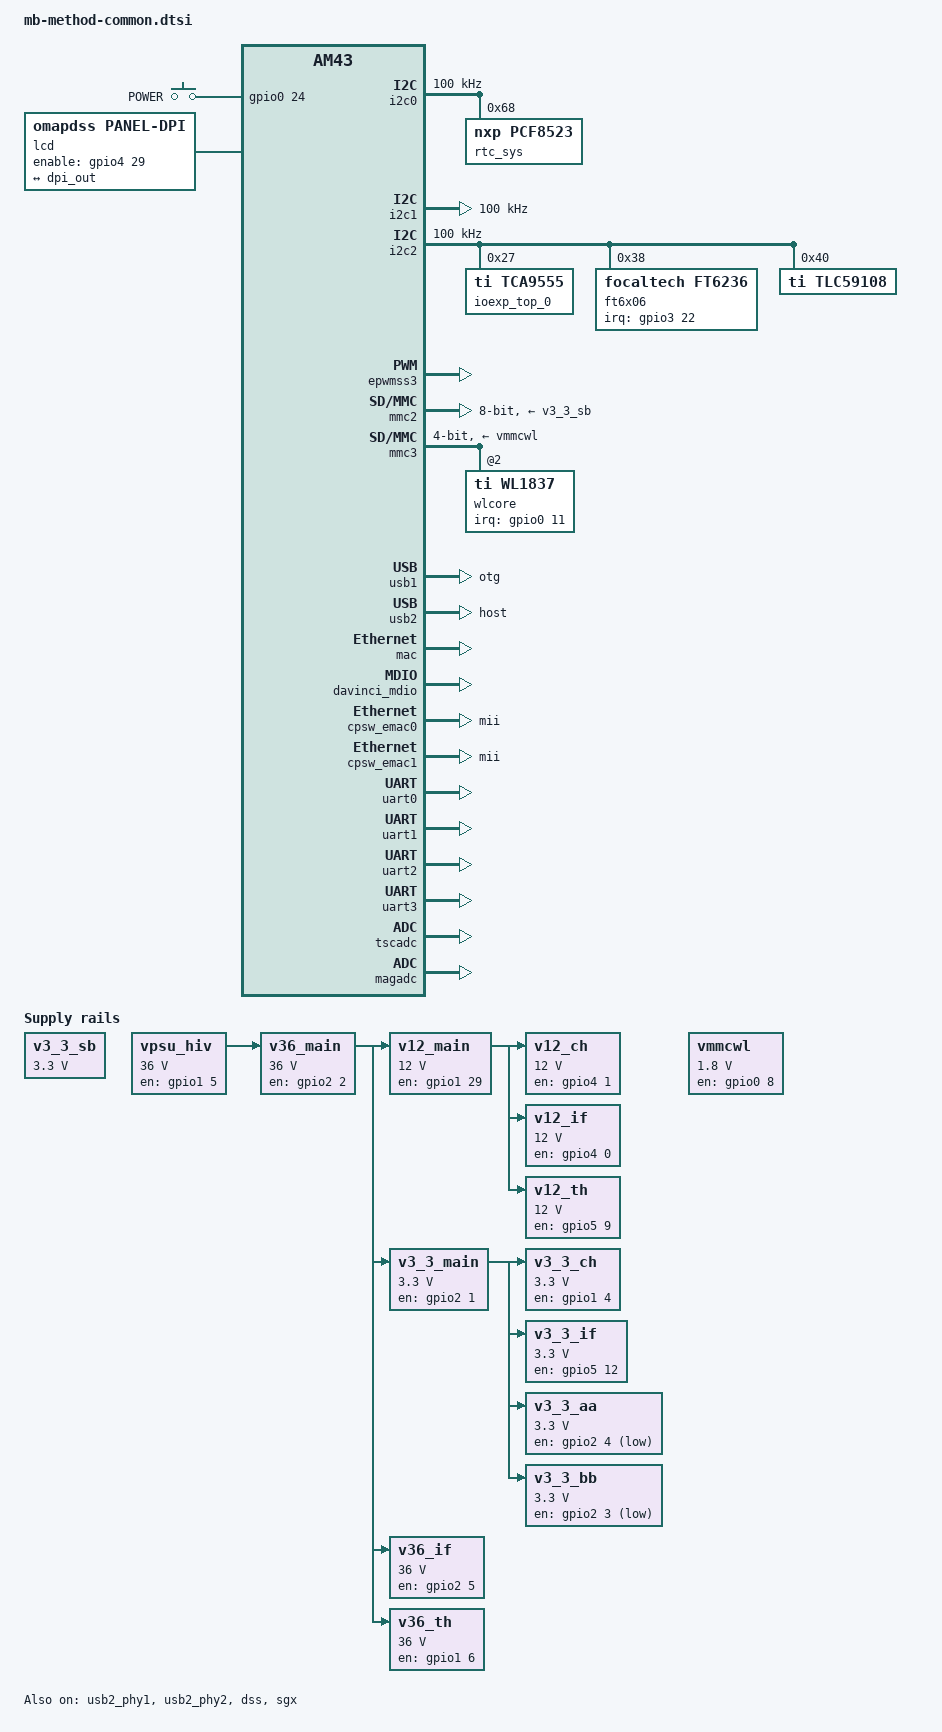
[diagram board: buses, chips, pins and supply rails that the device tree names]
/*
 * Copyright (C) 2013 Texas Instruments Incorporated - http://www.ti.com/
 *
 * This program is free software; you can redistribute it and/or modify
 * it under the terms of the GNU General Public License version 2 as
 * published by the Free Software Foundation.
 */

/* AM437x GP EVM */

#include "am4372.dtsi"
#include <dt-bindings/pinctrl/am43xx.h>
#include <dt-bindings/pwm/pwm.h>
#include <dt-bindings/gpio/gpio.h>

// For Pin Mux Modes, refer to the TI AM437x Processors Datasheet (am4376.pdf)

/ {
	compatible = "ti,am4372", "ti,am43", "ti,cpsw";

	aliases {};

	/* Not clear if we need this... */
	v3_3_sb: fixedregulator-v3_3_sb {
		compatible = "regulator-fixed";
		regulator-name = "v3_3_sb";
		regulator-min-microvolt = <3300000>;
		regulator-max-microvolt = <3300000>;
		enable-active-high;
	};

	/* Hi voltage enable line to the psu */
	vpsu_hiv: fixedregulator-vpsu_hiv {
		compatible = "regulator-fixed";
		regulator-name = "vpsu_hiv";
		regulator-min-microvolt = <36000000>;
		regulator-max-microvolt = <36000000>;
		gpio = <&gpio1 5 GPIO_ACTIVE_HIGH>; /* (A7) gpmc_ad5 PWR-MAIN-ON */
		enable-active-high;
		regulator-always-on;
	};

	/* The main 36V supply */
	v36_main: fixedregulator-v36_main {
		compatible = "regulator-fixed";
		regulator-name = "v36_main";
		regulator-min-microvolt = <36000000>;
		regulator-max-microvolt = <36000000>;
		vin-supply = <&vpsu_hiv>;
		gpio = <&gpio2 2 GPIO_ACTIVE_HIGH>; /* (A9) gpmc_advn_ale 36V-EN */
		enable-active-high;
		regulator-always-on;
	};

	/* The main 12V supply */
	v12_main: fixedregulator-v12_main {
		compatible = "regulator-fixed";
		regulator-name = "v12_main";
		regulator-min-microvolt = <12000000>;
		regulator-max-microvolt = <12000000>;
		vin-supply = <&v36_main>;
		gpio = <&gpio1 29 GPIO_ACTIVE_HIGH>; /* (A8) gpmc_csn0 12V-EN */
		enable-active-high;
		regulator-always-on;
	};

	/* The main 3.3V supply */
	v3_3_main: fixedregulator-v3_3_main {
		compatible = "regulator-fixed";
		regulator-name = "v3_3_main";
		regulator-min-microvolt = <3300000>;
		regulator-max-microvolt = <3300000>;
		vin-supply = <&v36_main>;
		gpio = <&gpio2 1 GPIO_ACTIVE_HIGH>; /* (A12) rmii1_ref_clk BUCK-3V3-EN */
		enable-active-high;
		regulator-always-on;
	};

	/* The chamber heater 3.3V supply */
	v3_3_ch: fixedregulator-v3_3_ch {
		compatible = "regulator-fixed";
		regulator-name = "v3_3_ch";
		regulator-min-microvolt = <3300000>;
		regulator-max-microvolt = <3300000>;
		vin-supply = <&v3_3_main>;
		gpio = <&gpio1 4 GPIO_ACTIVE_HIGH>; /* (B7) gpmc_ad4 3V3-CH-EN */
		enable-active-high;
	};

	v3_3_ch_consumer: mb-v3_3_ch-consumer {
		compatible = "mb,reg-th-consumer";
		regulator-name = "mb-v3_3_ch-regulator";
		regulator-boot-on;
		regulator-supplies = "v3_3_ch";
	};

	/* The chamber heater 12V supply */
	v12_ch: fixedregulator-v12_ch {
		compatible = "regulator-fixed";
		regulator-name = "v12_ch";
		regulator-min-microvolt = <12000000>;
		regulator-max-microvolt = <12000000>;
		vin-supply = <&v12_main>;
		gpio = <&gpio4 1 GPIO_ACTIVE_HIGH>; /* (AD18) cam0_vd 12V-CH-EN */
		enable-active-high;
	};

	v12_ch_consumer: mb-v12_ch-consumer {
		compatible = "mb,reg-th-consumer";
		regulator-name = "mb-v12_ch-regulator";
		regulator-boot-on;
		regulator-supplies = "v12_ch";
	};

	/* The 36V supply to The Rock */
	v36_if: fixedregulator-v36_if {
		compatible = "regulator-fixed";
		regulator-name = "v36_if";
		regulator-min-microvolt = <36000000>;
		regulator-max-microvolt = <36000000>;
		vin-supply = <&v36_main>;
		gpio = <&gpio2 5 GPIO_ACTIVE_HIGH>; /* (C10) gpmc_be0n_cle 36V-IF-EN */
		enable-active-high;
	};

	/* The 12V supply to The Rock */
	v12_if: fixedregulator-v12_if {
		compatible = "regulator-fixed";
		regulator-name = "v12_if";
		regulator-min-microvolt = <12000000>;
		regulator-max-microvolt = <12000000>;
		vin-supply = <&v12_main>;
		gpio = <&gpio4 0 GPIO_ACTIVE_HIGH>; /* (AE17) cam0_hd 12V-IF-EN */
		enable-active-high;
	};

	/* The 3.3V supply to The Rock, also known as the Top Bunk Enable */
	v3_3_if: fixedregulator-v3_3_if {
		compatible = "regulator-fixed";
		regulator-name = "v3_3_if";
		regulator-min-microvolt = <3300000>;
		regulator-max-microvolt = <3300000>;
		vin-supply = <&v3_3_main>;
		gpio = <&gpio5 12 GPIO_ACTIVE_HIGH>; /* (E25) gpio5_12 3V3-IF-EN */
		enable-active-high;
	};

	v3_3_if_consumer: mb-v3_3_if-consumer {
		compatible = "mb,reg-th-consumer";
		regulator-name = "mb-v3_3_if-regulator";
		regulator-boot-on;
		regulator-supplies = "v3_3_if";
	};

	/* The 36V supply to Mick Foley */
	v36_th: fixedregulator-v36_th {
		compatible = "regulator-fixed";
		regulator-name = "v36_th";
		regulator-min-microvolt = <36000000>;
		regulator-max-microvolt = <36000000>;
		vin-supply = <&v36_main>;
		gpio = <&gpio1 6 GPIO_ACTIVE_HIGH>; /* (C8) gpmc_ad6 36V-TH-EN */
		enable-active-high;
	};

	/* The 12V supply to Mick Foley */
	v12_th: fixedregulator-v12_th {
		compatible = "regulator-fixed";
		regulator-name = "v12_th";
		regulator-min-microvolt = <12000000>;
		regulator-max-microvolt = <12000000>;
		vin-supply = <&v12_main>;
		gpio = <&gpio5 9 GPIO_ACTIVE_HIGH>; /* (F24) gpio5_9 12V-TH-EN */
		enable-active-high;
	};

	th_consumer: mb-th-consumer {
		compatible = "mb,reg-th-consumer";
		regulator-name = "mb-th-regulator";
		regulator-boot-on;
		regulator-supplies = "v12_th", "v36_th";
	};

	v12_if_consumer: mb-v12_if-consumer {
		compatible = "mb,reg-th-consumer";
		regulator-name = "mb-v12_if-regulator";
		regulator-boot-on;
		regulator-supplies = "v12_if";
	};

	v36_if_consumer: mb-v36_if-consumer {
		compatible = "mb,reg-th-consumer";
		regulator-name = "mb-v36_if-regulator";
		regulator-boot-on;
		regulator-supplies = "v36_if";
	};

	/* The 3.3V supply to filament bay aa */
	v3_3_aa: fixedregulator-v3_3_aa {
		compatible = "regulator-fixed";
		regulator-name = "v3_3_aa";
		regulator-min-microvolt = <3300000>;
		regulator-max-microvolt = <3300000>;
		vin-supply = <&v3_3_main>;
		gpio = <&gpio2 4 GPIO_ACTIVE_LOW>; /* (D10) gpmc_wen 3V3-AA-ENn */
		enable-active-low;
	};

	v3_3_aa_consumer: mb-v3_3_aa-consumer {
		compatible = "mb,reg-th-consumer";
		regulator-name = "mb-v3_3_aa-regulator";
		regulator-boot-on;
		regulator-supplies = "v3_3_aa";
	};

	/* The 3.3V supply to filament bay bb */
	v3_3_bb: fixedregulator-v3_3_bb {
		compatible = "regulator-fixed";
		regulator-name = "v3_3_bb";
		regulator-min-microvolt = <3300000>;
		regulator-max-microvolt = <3300000>;
		vin-supply = <&v3_3_main>;
		gpio = <&gpio2 3 GPIO_ACTIVE_LOW>; /* (E10) gpmc_oen_ren 3V3-BB-ENn */
		enable-active-low;
	};

	v3_3_bb_consumer: mb-v3_3_bb-consumer {
		compatible = "mb,reg-th-consumer";
		regulator-name = "mb-v3_3_bb-regulator";
		regulator-boot-on;
		regulator-supplies = "v3_3_bb";
	};

	/* Not actually a power supply but convenient to treat as one */
	vmmcwl: fixedregulator-mmcwl {
		compatible = "regulator-fixed";
		regulator-name = "vmmcwl";
		regulator-min-microvolt = <1800000>;
		regulator-max-microvolt = <1800000>;
		startup-delay-us = <70000>;
		/* (D14) mii1_tx_clk.gpio0_8 WIFI-EN_1V8 (gpio3_9 0x7, gpio0_8 0x9) */
		gpio = <&gpio0 8 GPIO_ACTIVE_HIGH>;
		enable-active-high;
	};

	/* Power button */
	gpio_keys {
		compatible = "gpio-keys";
		#address-cells = <1>;
		#size-cells = <0>;

		button@1 {
			debounce_interval = <50>;
			linux,wakeup;
			linux,code = <116>;
			label = "POWER";
			gpios = <&gpio0 24 GPIO_ACTIVE_HIGH>; /* (H20) clkreq BUTTON-PWRn */
		};
	};
};

&am43xx_pinmux {
	pinctrl-names = "default", "sleep";
	pinctrl-0 = <&debugss_pins &power_pins &unused_pins &mobo_usb_hub_reset_pins>;
	pinctrl-1 = <>;

	/* i2c0 pins used for the pcf8523 hardware RTC */
	i2c0_pins: i2c0_pins {
		pinctrl-single,pins = <
			0x188 (PIN_INPUT_PULLUP | SLEWCTRL_FAST | MUX_MODE0)  /* (AB24) i2c0_sda.i2c0_sda */
			0x18C (PIN_INPUT_PULLUP | SLEWCTRL_FAST | MUX_MODE0)  /* (Y22) i2c0_scl.i2c0_scl */
		>;
	};

	i2c1_pins: i2c1_pins {
		pinctrl-single,pins = <
			0x208 (PIN_INPUT_PULLUP | SLEWCTRL_FAST | MUX_MODE3)  /* (AE18) cam0_data0.i2c1_sda */
			0x20C (PIN_INPUT_PULLUP | SLEWCTRL_FAST | MUX_MODE3)  /* (AB18) cam0_data1.i2c1_scl */
		>;
	};

	i2c2_pins: i2c2_pins {
		pinctrl-single,pins = <
			0x1E8 (PIN_INPUT_PULLUP | SLEWCTRL_FAST | MUX_MODE3)  /* (AB20) cam1_data0.i2c2_sda */
			0x1EC (PIN_INPUT_PULLUP | SLEWCTRL_FAST | MUX_MODE3)  /* (AC21) cam1_data1.i2c2_scl */
		>;
	};

	/* eMMC */
	emmc_pins_default: emmc_pins_default {
		pinctrl-single,pins = <
			0x020 (PIN_INPUT_PULLUP | MUX_MODE2)  /* (B10) gpmc_ad8.mmc1_dat0 */
			0x024 (PIN_INPUT_PULLUP | MUX_MODE2)  /* (A10) gpmc_ad9.mmc1_dat1 */
			0x028 (PIN_INPUT_PULLUP | MUX_MODE2)  /* (F11) gpmc_ad10.mmc1_dat2 */
			0x02C (PIN_INPUT_PULLUP | MUX_MODE2)  /* (D11) gpmc_ad11.mmc1_dat3 */
			0x030 (PIN_INPUT_PULLUP | MUX_MODE2)  /* (E11) gpmc_ad12.mmc1_dat4 */
			0x034 (PIN_INPUT_PULLUP | MUX_MODE2)  /* (C11) gpmc_ad13.mmc1_dat5 */
			0x038 (PIN_INPUT_PULLUP | MUX_MODE2)  /* (B11) gpmc_ad14.mmc1_dat6 */
			0x03C (PIN_INPUT_PULLUP | MUX_MODE2)  /* (A11) gpmc_ad15.mmc1_dat7 */
			0x080 (PIN_INPUT_PULLUP | MUX_MODE2)  /* (???) gpmc_csn1.mmc1_clk */
			0x084 (PIN_INPUT_PULLUP | MUX_MODE2)  /* (???) gpmc_csn2.mmc1_cmd */
		>;
	};

	/* eMMC sleep */
	emmc_pins_sleep: emmc_pins_sleep {
		pinctrl-single,pins = <
			0x020 (PIN_INPUT_PULLDOWN | MUX_MODE7)  /* (B10) gpmc_ad8.gpio0_22 */
			0x024 (PIN_INPUT_PULLDOWN | MUX_MODE7)  /* (A10) gpmc_ad9.gpio0_23 */
			0x028 (PIN_INPUT_PULLDOWN | MUX_MODE7)  /* (F11) gpmc_ad10.gpio0_26 */
			0x02C (PIN_INPUT_PULLDOWN | MUX_MODE7)  /* (D11) gpmc_ad11.gpio0_27 */
			0x030 (PIN_INPUT_PULLDOWN | MUX_MODE7)  /* (E11) gpmc_ad12.gpio1_12 */
			0x034 (PIN_INPUT_PULLDOWN | MUX_MODE7)  /* (C11) gpmc_ad13.gpio1_13 */
			0x038 (PIN_INPUT_PULLDOWN | MUX_MODE7)  /* (B11) gpmc_ad14.gpio1_14 */
			0x03C (PIN_INPUT_PULLDOWN | MUX_MODE7)  /* (A11) gpmc_ad15.gpio1_15 */
			0x080 (PIN_INPUT_PULLDOWN | MUX_MODE7)  /* (???) gpmc_csn1.gpio1_30 */
			0x084 (PIN_INPUT_PULLDOWN | MUX_MODE7)  /* (???) gpmc_csn2.gpio1_31 */
		>;
	};

	/* WIFI-MMC */
	mmc3_pins_default: pinmux_mmc3_pins_default {
		pinctrl-single,pins = <
			0x13C (PIN_INPUT | MUX_MODE6) /* (B16) mii1_rxd1.mmc2_clk WL_SDIO_CLK */
			0x114 (PIN_INPUT | MUX_MODE6) /* (A13) mii1_txen.mmc2_cmd WL_SDIO_CMD */
			0x118 (PIN_INPUT_PULLUP | MUX_MODE5 | INPUT_EN) /* (A15) mii1_rxdv.mmc2_dat0 WL_SDIO_D0 */
			0x11C (PIN_INPUT_PULLUP | MUX_MODE5 | INPUT_EN) /* (C16) mii1_txd3.mmc2_dat1 WL_SDIO_D1 */
			0x120 (PIN_INPUT_PULLUP | MUX_MODE5 | INPUT_EN) /* (C13) mii1_txd2.mmc2_dat2 WL_SDIO_D2 */
			0x108 (PIN_INPUT_PULLUP | MUX_MODE5 | INPUT_EN) /* (D16) mii1_col.mmc2_dat3 WL_SDIO_D3 */
		>;
	};

	/* WIFI-MMC sleep */
	mmc3_pins_sleep: pinmux_mmc3_pins_sleep {
		pinctrl-single,pins = <
			0x13C (PIN_INPUT | MUX_MODE6 | INPUT_EN) /* (B16) mii1_rxd1.gpio2_20 WL_SDIO_CLK */
			0x114 (PIN_INPUT | MUX_MODE6 | INPUT_EN) /* (A13) mii1_txen.gpio3_3 WL_SDIO_CMD */
			0x118 (PIN_INPUT_PULLUP | MUX_MODE5 | INPUT_EN) /* (A15) mii1_rxdv.gpio3_4 WL_SDIO_D0 */
			0x11C (PIN_INPUT_PULLUP | MUX_MODE5 | INPUT_EN) /* (C16) mii1_txd3.gpio0_16 WL_SDIO_D1 */
			0x120 (PIN_INPUT_PULLUP | MUX_MODE5 | INPUT_EN) /* (C13) mii1_txd2.gpio0_17 WL_SDIO_D2 */
			0x108 (PIN_INPUT_PULLUP | MUX_MODE5 | INPUT_EN) /* (D16) mii1_col.gpio3_0 WL_SDIO_D3 */
		>;
	};

	/* WIFI-EN, WIFI-IRQ, BT-EN */
	wlan_pins_default: pinmux_wlan_pins_default {
		pinctrl-single,pins = <
			0x128 (PIN_OUTPUT_PULLDOWN | MUX_MODE7) /* (B15) mii1_txd0.gpio0_28 BT-EN_1V8 */
			0x12C (PIN_OUTPUT_PULLDOWN | MUX_MODE9) /* (D14) mii1_tx_clk.gpio0_8 WIFI-EN_1V8 (gpio3_9 0x7, gpio0_8 0x9)*/
			0x138 (PIN_INPUT | WAKEUP_ENABLE | MUX_MODE9) /* (E16) mii1_rxd2.gpio0_11 WIFI-IRQ_1V8 (gpio2_19 0x7, gpio0_11 0x9)*/
		>;
	};

	/* WIFI-EN, WIFI-IRQ, BT-EN sleep */
	wlan_pins_sleep: pinmux_wlan_pins_sleep {
		pinctrl-single,pins = <
			0x128 (PIN_OUTPUT_PULLDOWN | MUX_MODE7) /* (B15) mii1_txd0.gpio0_28 BT-EN_1V8 */
			0x12C (PIN_OUTPUT_PULLDOWN | MUX_MODE7) /* (D14) mii1_tx_clk.gpio3_9 WIFI-EN_1V8 */
			0x138 (PIN_INPUT | WAKEUP_ENABLE | MUX_MODE7) /* (E16) mii1_rxd2.gpio2_19 WIFI-IRQ_1V8 */
		>;
	};

	/* Ethernet-MII */
	cpsw_default: cpsw_default {
		pinctrl-single,pins = <
			0x000 (PIN_OUTPUT_PULLUP | MUX_MODE7)  /* TODO verify : (B5) gpmc_ad0.gpio1_0 */
			0x040 (PIN_OUTPUT | MUX_MODE1) /* (C3) gpmc_a0.gmii2_txen MII-TXEN */
			0x044 (PIN_INPUT_PULLDOWN | MUX_MODE1) /* (C5) gpmc_a1.gmii2_rxdv MII-RXDV */
			0x048 (PIN_OUTPUT | MUX_MODE1) /* (C6) gpmc_a2.gmii2_txd3 MII-TXD3 */
			0x04C (PIN_OUTPUT | MUX_MODE1) /* (A4) gpmc_a3.gmii2_txd2 MII-TXD2 */
			0x050 (PIN_OUTPUT | MUX_MODE1) /* (D7) gpmc_a4.gmii2_txd1 MII-TXD1 */
			0x054 (PIN_OUTPUT | MUX_MODE1) /* (E7) gpmc_a5.gmii2_txd0 MII-TXD0 */
			0x058 (PIN_INPUT | MUX_MODE1)  /* (E8) gpmc_a6.gmii2_txclk MII-TXCLK */
			0x05C (PIN_INPUT | MUX_MODE1) /* (F6) gpmc_a7.gmii2_rxclk MII-RXCLK */
			0x060 (PIN_INPUT | MUX_MODE1) /* (F7) gpmc_a8.gmii2_rxd3 MII-RXD3 */
			0x064 (PIN_INPUT | MUX_MODE1) /* (B4) gpmc_a9.gmii2_rxd2 MII-RXD2 */
			0x068 (PIN_INPUT | MUX_MODE1) /* (G8) gpmc_a10.gmii2_rxd1 MII-RXD1 */
			0x06C (PIN_INPUT | MUX_MODE1) /* (D8) gpmc_a11.gmii2_rxd0 MII-RXD0 */
			0x070 (PIN_INPUT | MUX_MODE1) /* (A2) gpmc_wait0.gmii2_crs MII-CRS */
			0x074 (PIN_INPUT_PULLDOWN | MUX_MODE1) /* (B3) gpmc_wpn.gmii2_rxer MII-RXER */
			0x078 (PIN_INPUT | MUX_MODE1) /* (A3) gpmc_be1n.gmii2_col MII-COL */
			0x270 (PIN_OUTPUT | MUX_MODE3) /* TODO verify : (D24) xdma_event_intr0.clkout1 PHY-25MHz */
		>;
	};

	/* Ethernet-MII sleep */
	cpsw_sleep: cpsw_sleep {
		pinctrl-single,pins = <
			0x000 (PIN_OUTPUT_PULLUP | MUX_MODE7)
			0x040 (PIN_OUTPUT_PULLDOWN | MUX_MODE7) /* (C3) gpmc_a0.gpio1_16 MII-TXEN */
			0x044 (PIN_INPUT_PULLDOWN | MUX_MODE7) /* (C5) gpmc_a1.gpio1_17 MII-RXDV */
			0x048 (PIN_OUTPUT_PULLDOWN | MUX_MODE7) /* (C6) gpmc_a2.gpio1_18 MII-TXD3 */
			0x04C (PIN_OUTPUT_PULLDOWN | MUX_MODE7) /* (A4) gpmc_a3.gpio1_19 MII-TXD2 */
			0x050 (PIN_OUTPUT_PULLDOWN | MUX_MODE7) /* (D7) gpmc_a4.gpio1_20 MII-TXD1 */
			0x054 (PIN_OUTPUT_PULLDOWN | MUX_MODE7) /* (E7) gpmc_a5.gpio1_21 MII-TXD0 */
			0x058 (PIN_INPUT_PULLDOWN | MUX_MODE7) /* (E8) gpmc_a6.gpio1_22 MII-TXCLK */
			0x05C (PIN_INPUT_PULLDOWN | MUX_MODE7) /* (F6) gpmc_a7.gpio1_23 MII-RXCLK */
			0x060 (PIN_INPUT_PULLDOWN | MUX_MODE7) /* (F7) gpmc_a8.gpio1_24 MII-RXD3 */
			0x064 (PIN_INPUT_PULLDOWN | MUX_MODE7) /* (B4) gpmc_a9.gpio1_25 MII-RXD2 */
			0x068 (PIN_INPUT_PULLDOWN | MUX_MODE7) /* (G8) gpmc_a10.gpio1_26 MII-RXD1 */
			0x06C (PIN_INPUT_PULLDOWN | MUX_MODE7) /* (D8) gpmc_a11.gpio1_27 MII-RXD0 */
			0x070 (PIN_INPUT_PULLDOWN | MUX_MODE7) /* (A2) gpmc_wait0.gpio0_30 MII-CRS */
			0x074 (PIN_INPUT_PULLDOWN | MUX_MODE7) /* (B3) gpmc_wpn.gpio0_31 MII-RXER */
			0x078 (PIN_INPUT_PULLDOWN | MUX_MODE7) /* (A3) gpmc_be1n.gpio1_28 MII-COL */
			0x270 (PIN_OUTPUT | MUX_MODE3)
		>;
	};

	/* MDIO */
	davinci_mdio_default: davinci_mdio_default {
		pinctrl-single,pins = <
			0x148 (PIN_INPUT | SLEWCTRL_FAST | MUX_MODE0)  /* (A17) mdio_data.mdio_data MDIO-DATA */
			0x14C (PIN_OUTPUT | MUX_MODE0) /* (B17) mdio_clk.mdio_clk MDIO-CLK */
		>;
	};

	/* MDIO sleep */
	davinci_mdio_sleep: davinci_mdio_sleep {
		pinctrl-single,pins = <
			0x148 (PIN_INPUT | PULL_DISABLE | MUX_MODE7) /* (A17) mdio_data.gpio0_0 MDIO-DATA */
			0x14C (PIN_INPUT | PULL_DISABLE | MUX_MODE7) /* (B17) mdio_clk.gpio0_1 MDIO-CLK */
		>;
	};

	/* Console Output (TTL) UART-DEBUG */
	uart0_pins_default: uart0_pins_default {
		pinctrl-single,pins = <
			0x168 (DS0_PULL_UP_DOWN_EN | INPUT_EN | MUX_MODE0)  /* (L25) uart0_ctsn.uart0_ctsn */
			0x16C (DS0_PULL_UP_DOWN_EN | INPUT_EN | MUX_MODE0)  /* (J25) uart0_rtsn.uart0_rtsn */
			0x170 (PIN_INPUT_PULLUP | DS0_PULL_UP_DOWN_EN | MUX_MODE0) /* (K25) uart0_rxd.uart0_rxd */
			0x174 (PIN_INPUT | DS0_PULL_UP_DOWN_EN | MUX_MODE0) /* (J24) uart0_txd.uart0_txd */
		>;
	};

	uart0_pins_sleep: uart0_pins_sleep {
		pinctrl-single,pins = <
			0x168 (DS0_PULL_UP_DOWN_EN | INPUT_EN | MUX_MODE7)  /* (L25) uart0_ctsn.gpio1_8 */
			0x16C (DS0_PULL_UP_DOWN_EN | INPUT_EN | MUX_MODE7)  /* (J25) uart0_rtsn.gpio1_9 */
			0x170 (PIN_INPUT_PULLUP | DS0_PULL_UP_DOWN_EN | MUX_MODE0) /* (K25) uart0_rxd.uart0_rxd */
			0x174 (PIN_INPUT_PULLDOWN | DS0_PULL_UP_DOWN_EN | MUX_MODE0) /* (J24) uart0_txd.uart0_txd */
		>;
	};

	/* UART-BT */
	uart1_pins_default: pinmux_uart1_pins_default {
		pinctrl-single,pins = <
			0x178 (PIN_INPUT | MUX_MODE0) /* (K22) uart1_ctsn.uart1_ctsn */
			0x17C (PIN_OUTPUT_PULLDOWN | MUX_MODE0) /* (L22) uart1_rtsn.uart1_rtsn */
			0x180 (PIN_INPUT_PULLUP | DS0_PULL_UP_DOWN_EN | MUX_MODE0) /* (K21) uart1_rxd.uart1_rxd */
			0x184 (PIN_INPUT | DS0_PULL_UP_DOWN_EN | MUX_MODE0) /* (L21) uart1_txd.uart1_txd */
		>;
	};

	uart1_pins_sleep: pinmux_uart1_pins_sleep {
		pinctrl-single,pins = <
			0x178 (PIN_INPUT_PULLUP | MUX_MODE7) /* (K22) uart1_ctsn.gpio0_12 */
			0x17C (PIN_INPUT_PULLUP | MUX_MODE7) /* (L22) uart1_rtsn.gpio0_13 */
			0x180 (PIN_INPUT_PULLUP | MUX_MODE7) /* (K21) uart1_rxd.gpio0_14 */
			0x184 (PIN_INPUT_PULLUP | MUX_MODE7) /* (L21) uart1_txd.gpio0_15 */
		>;
	};

	/* UART-DRAWER-BB */
	uart2_pins_default: uart2_pins_default {
		pinctrl-single,pins = <
			0x150 (PIN_INPUT_PULLUP | DS0_PULL_UP_DOWN_EN | MUX_MODE1) /* (P23) spi0_sclk.uart2_rxd */
			0x154 (PIN_INPUT | DS0_PULL_UP_DOWN_EN | MUX_MODE1) /* (T22) spi0_d0.uart2_txd */
		>;
	};

	uart2_pins_sleep: uart2_pins_sleep {
		pinctrl-single,pins = <
			0x150 (PIN_INPUT_PULLUP | MUX_MODE7) /* (P23) spi0_sclk */
			0x154 (PIN_INPUT_PULLUP | MUX_MODE7) /* (T22) spi0_d0 */
		>;
	};

	/* UART-DRAWER-AA */
	uart3_pins_default: uart3_pins_default {
		pinctrl-single,pins = <
			0x160 (PIN_INPUT_PULLUP | DS0_PULL_UP_DOWN_EN | MUX_MODE1) /* (R25) spi0_cs1.uart3_rxd */
			0x164 (PIN_INPUT | DS0_PULL_UP_DOWN_EN | MUX_MODE1) /* (G24) eCAP0_in_PWM0_out.uart3_txd */
		>;
	};

	uart3_pins_sleep: uart3_pins_sleep {
		pinctrl-single,pins = <
			0x160 (PIN_INPUT_PULLUP | MUX_MODE7) /* (R25) spi0_cs1 */
			0x164 (PIN_INPUT_PULLUP | MUX_MODE7) /* (G24) eCAP0_in_PWM0_out */
		>;
	};

	/* JTAG */
	debugss_pins: pinmux_debugss_pins {
		pinctrl-single,pins = <
			0x290 (PIN_INPUT_PULLDOWN | MUX_MODE0) /* (Y24) TMS.TMS JTAG-TMS */
			0x294 (PIN_INPUT_PULLDOWN | MUX_MODE0) /* (Y20) TDI.TDI JTAG-TDI */
			0x298 (PIN_INPUT_PULLDOWN | MUX_MODE0) /* (AA24) TDO.TDO JTAG-TDO */
			0x29C (PIN_INPUT_PULLDOWN | MUX_MODE0) /* (AA25) TCK.TCK JTAG-TCK */
			0x2A0 (PIN_INPUT_PULLDOWN | MUX_MODE0) /* (Y25) nTRST.nTRST JTAG-TRSTn CTRL_CONF_NTRST */
			0x2A4 (PIN_INPUT_PULLDOWN | MUX_MODE0) /* (N23) EMU0.EMU0 JTAG-EMU0 */
			0x2A8 (PIN_INPUT_PULLDOWN | MUX_MODE0) /* (T24) EMU1.EMU1 JTAG-EMU1 */
		>;
	};

	pruss_pins: pruss_pins {
		pinctrl-single,pins = <
			0x0F0 (PIN_OUTPUT | MUX_MODE5) /* (B1) mmc0_dat3.pr0_pru0_gpo8 MOT-B-STEP */
			0x0F4 (PIN_OUTPUT | MUX_MODE5) /* (B2) mmc0_dat2.pr0_pru0_gpo9 MOT-B-DIR */
			0x0F8 (PIN_OUTPUT | MUX_MODE5) /* (C2) mmc0_dat1.pr0_pru0_gpo10 MOT-AA-STEP */
			0x0FC (PIN_OUTPUT | MUX_MODE5) /* (C1) mmc0_dat0.pr0_pru0_gpo11 MOT-AA-DIR */
			0x100 (PIN_OUTPUT | MUX_MODE5) /* (D1) mmc0_clk.pr0_pru0_gpo12 MOT-BB-STEP */
			0x104 (PIN_OUTPUT | MUX_MODE5) /* (D2) mmc0_cmd.pr0_pru0_gpo13 MOT-BB-DIR */
			0x190 (PIN_OUTPUT | MUX_MODE5) /* (N24) mcasp0_aclkx.pr0_pru0_gpo0 MOT-X-STEP */
			0x194 (PIN_OUTPUT | MUX_MODE5) /* (N22) mcasp0_fsx.pr0_pru0_gpo1 MOT-X-DIR */
			0x198 (PIN_OUTPUT | MUX_MODE5) /* (H23) mcasp0_axr0.pr0_pru0_gpo2 MOT-Y-STEP */
			0x19C (PIN_OUTPUT | MUX_MODE5) /* (M24) mcasp0_ahclkr.pr0_pru0_gpo3 MOT-Y-DIR */
			0x1A0 (PIN_OUTPUT | MUX_MODE5) /* (L23) mcasp0_aclkr.pr0_pru0_gpo4 MOT-Z-STEP */
			0x1A4 (PIN_OUTPUT | MUX_MODE5) /* (K23) mcasp0_fsr.pr0_pru0_gpo5 MOT-Z-DIR */
			0x1A8 (PIN_OUTPUT | MUX_MODE5) /* (M25) mcasp0_axr1.pr0_pru0_gpo6 MOT-A-DIR */
			0x1AC (PIN_OUTPUT | MUX_MODE5) /* (L24) mcasp0_ahclkx.pr0_pru0_gpo7 MOT-A-STEP */
			0x1C0 (PIN_OUTPUT | MUX_MODE3) /* (AC20) cam0_pclk.pr0_pru0_gpo14 TH-SYNC-OUT */
			0x1C4 (PIN_INPUT | MUX_MODE5) /* (AB19) cam0_data8.pr0_pru0_gpi15 TH-SYNC-IN */
			0x1C8 (PIN_INPUT_PULLUP | MUX_MODE5)   /* (AA19) cam0_data9.pr0_pru0_gpi16 ENDSTOP-X */
			0x1CC (PIN_INPUT_PULLUP | MUX_MODE5) /* (AC24) cam1_data9.pr0_pru0_gpi17 ENDSTOP-Y */
			0x228 (PIN_INPUT_PULLUP | MUX_MODE5) /* (H25) uart3_rxd.pr0_pru0_gpi18 ENDSTOP-Z */
			0x22C (PIN_INPUT_PULLUP | MUX_MODE7) /* (H24) uart3_txd.pr0_pru0_gpi19 LID-OR-DOOR */
		>;
	};

	dss_pins_default: dss_pins_default {
		pinctrl-single,pins = <
			0x0A0 (PIN_OUTPUT_PULLUP | MUX_MODE0) /* (B22) dss_data0.dss_data0 */
			0x0A4 (PIN_OUTPUT_PULLUP | MUX_MODE0) /* (A21) dss_data1.dss_data1 */
			0x0A8 (PIN_OUTPUT_PULLUP | MUX_MODE0) /* (B21) dss_data2.dss_data2 */
			0x0AC (PIN_OUTPUT_PULLUP | MUX_MODE0) /* (C21) dss_data3.dss_data3 */
			0x0B0 (PIN_OUTPUT_PULLUP | MUX_MODE0) /* (A20) dss_data4.dss_data4 */
			0x0B4 (PIN_OUTPUT_PULLUP | MUX_MODE0) /* (B20) dss_data5.dss_data5 */
			0x0B8 (PIN_OUTPUT_PULLUP | MUX_MODE0) /* (C20) dss_data6.dss_data6 */
			0x0BC (PIN_OUTPUT_PULLUP | MUX_MODE0) /* (E19) dss_data7.dss_data7 */
			0x0C0 (PIN_OUTPUT_PULLUP | MUX_MODE0) /* (A19) dss_data8.dss_data8 */
			0x0C4 (PIN_OUTPUT_PULLUP | MUX_MODE0) /* (B19) dss_data9.dss_data9 */
			0x0C8 (PIN_OUTPUT_PULLUP | MUX_MODE0) /* (A18) dss_data10.dss_data10 */
			0x0CC (PIN_OUTPUT_PULLUP | MUX_MODE0) /* (B18) dss_data11.dss_data11 */
			0x0D0 (PIN_OUTPUT_PULLUP | MUX_MODE0) /* (C19) dss_data12.dss_data12 */
			0x0D4 (PIN_OUTPUT_PULLUP | MUX_MODE0) /* (D19) dss_data13.dss_data13 */
			0x0D8 (PIN_OUTPUT_PULLUP | MUX_MODE0) /* (C17) dss_data14.dss_data14 */
			0x0DC (PIN_OUTPUT_PULLUP | MUX_MODE0) /* (D17) dss_data15.dss_data15 */
			0x0E0 (PIN_OUTPUT_PULLUP | MUX_MODE0) /* (B23) dss_vsync.dss_vsync */
			0x0E4 (PIN_OUTPUT_PULLUP | MUX_MODE0) /* (A23) dss_hsync.dss_hsync */
			0x0E8 (PIN_OUTPUT_PULLUP | MUX_MODE0) /* (A22) dss_pclk.dss_pclk */
			0x0EC (PIN_OUTPUT_PULLUP | MUX_MODE0) /* (A24) dss_ac_bias_en.dss_ac_bias_en */
			0x224 (PIN_OUTPUT_PULLDOWN | MUX_MODE7) /* (AD20) cam0_data7.gpio4_29 LCD-BKLIGHT */
		>;
	};

	dss_pins_sleep: dss_pins_sleep { /* TODO: Why are these configured as INPUTS? */
		pinctrl-single,pins = <
			0x0A0 (PIN_INPUT_PULLDOWN | MUX_MODE7) /* (B22) dss_data0.gpio2_6 */
			0x0A4 (PIN_INPUT_PULLDOWN | MUX_MODE7) /* (A21) dss_data1.gpio2_7 */
			0x0A8 (PIN_INPUT_PULLDOWN | MUX_MODE7) /* (B21) dss_data2.gpio2_8 */
			0x0AC (PIN_INPUT_PULLDOWN | MUX_MODE7) /* (C21) dss_data3.gpio2_9 */
			0x0B0 (PIN_INPUT_PULLDOWN | MUX_MODE7) /* (A20) dss_data4.gpio2_10 */
			0x0B4 (PIN_INPUT_PULLDOWN | MUX_MODE7) /* (B20) dss_data5.gpio2_11 */
			0x0B8 (PIN_INPUT_PULLDOWN | MUX_MODE7) /* (C20) dss_data6.gpio2_12 */
			0x0BC (PIN_INPUT_PULLDOWN | MUX_MODE7) /* (E19) dss_data7.gpio2_13 */
			0x0C0 (PIN_INPUT_PULLDOWN | MUX_MODE7) /* (A19) dss_data8.gpio2_14 */
			0x0C4 (PIN_INPUT_PULLDOWN | MUX_MODE7) /* (B19) dss_data9.gpio2_15 */
			0x0C8 (PIN_INPUT_PULLDOWN | MUX_MODE7) /* (A18) dss_data10.gpio2_16 */
			0x0CC (PIN_INPUT_PULLDOWN | MUX_MODE7) /* (B18) dss_data11.gpio2_17 */
			0x0D0 (PIN_INPUT_PULLDOWN | MUX_MODE7) /* (C19) dss_data12.gpio0_8 */
			0x0D4 (PIN_INPUT_PULLDOWN | MUX_MODE7) /* (D19) dss_data13.gpio0_9 */
			0x0D8 (PIN_INPUT_PULLDOWN | MUX_MODE7) /* (C17) dss_data14.gpio0_10 */
			0x0DC (PIN_INPUT_PULLDOWN | MUX_MODE7) /* (D17) dss_data15.gpio0_11 */
			0x0E0 (PIN_INPUT_PULLDOWN | MUX_MODE7) /* (B23) dss_vsync.gpio2_22 */
			0x0E4 (PIN_INPUT_PULLDOWN | MUX_MODE7) /* (A23) dss_hsync.gpio2_23 */
			0x0E8 (PIN_INPUT_PULLDOWN | MUX_MODE7) /* (A22) dss_pclk.gpio2_24 */
			0x0EC (PIN_INPUT_PULLDOWN | MUX_MODE7) /* (A24) dss_ac_bias_en.gpio2_25 */
			0x224 (PIN_INPUT_PULLDOWN | MUX_MODE7) /* (AD20) cam0_data7.gpio4_29 LCD-BKLIGHT */
		>;
	};

	edt_ft5xx6_ts_pins: edt_ft5xx6_ts_pins {
		pinctrl-single,pins = <
			0x264 (PIN_INPUT | MUX_MODE7) /* (P22) spi2_d0.gpio3_22 CAP-INTn */
		>;
	};

	ehrpwm3_pins: ehrpwm3_pins {
		pinctrl-single,pins = <
			0x218 (PIN_OUTPUT | MUX_MODE6) /* (AE19) cam0_data4.ehrpwm3A CH-PWM-A */
			0x21C (PIN_OUTPUT | MUX_MODE6) /* (AD19) cam0_data5.ehrpwm3B CH-PWM-B */
		>;
	};

	mobo_usb_hub_reset_pins: mobo_usb_hub_reset_pins { }; /* Only on gen-2 HW */

	power_pins: power_pins {
		pinctrl-single,pins = <
			0x010 (PIN_OUTPUT_PULLDOWN | MUX_MODE7) /* (B7) gpmc_ad4.gpio1_4 3V3-CH-EN */
			0x014 (PIN_OUTPUT_PULLDOWN | MUX_MODE7) /* (A7) gpmc_ad5.gpio1_5 PWR-MAIN-ON */
			0x018 (PIN_OUTPUT_PULLDOWN | MUX_MODE7) /* (C8) gpmc_ad6.gpio1_6 36V-TH-EN */
			0x07C (PIN_OUTPUT_PULLDOWN | MUX_MODE7) /* (A8) gpmc_csn0.gpio1_29 12V-EN */
			0x08C (PIN_OUTPUT_PULLDOWN | MUX_MODE7) /* (A12) gpmc_clk.gpio2_1 BUCK-3V3-EN*/
			0x090 (PIN_OUTPUT_PULLDOWN | MUX_MODE7) /* (A9) gpmc_advn_ale.gpio2_2 36V-EN */
			0x094 (PIN_OUTPUT_PULLDOWN | MUX_MODE7) /* (E10) gpmc_oen_ren.gpio2_3 3V3-BB-ENn */
			0x098 (PIN_OUTPUT_PULLDOWN | MUX_MODE7) /* (D10) gpmc_wen.gpio2_4 3V3-AA-ENn */
			0x09C (PIN_OUTPUT_PULLDOWN | MUX_MODE7) /* (C10) gpmc_be0n_cle.gpio2_5 36V-IF-EN */
			0x1B0 (PIN_OUTPUT_PULLDOWN | MUX_MODE7) /* (AE17) cam0_hd.gpio4_0 12V-IF-EN */
			0x1B4 (PIN_OUTPUT_PULLDOWN | MUX_MODE7) /* (AD18) cam0_vd.gpio4_1 12V-CH-EN */
			0x1D8 (PIN_OUTPUT_PULLDOWN | MUX_MODE7) /* (AC23) cam1_vd.gpio4_10 BUCK-5V-EN (REV1) */
			0x23C (PIN_OUTPUT_PULLDOWN | MUX_MODE7) /* (F24) gpio5_9.gpio5_9 12V-TH-EN */
			0x248 (PIN_OUTPUT_PULLDOWN | MUX_MODE7)  /* (E25) gpio5_12.gpio5_12 3V3-IF-EN */
			0x26C (PIN_OUTPUT_PULLUP | MUX_MODE7) /* (T23) spi2_cs0.gpio3_25 PWR-EN */
		>;
	};

	unused_pins: unused_pins {
		pinctrl-single,pins = <
			/* A lot of these are not unused... */
			/* for all GOOD and OCn: pulled low if there is a fault) */
			0x004 (PIN_INPUT_PULLUP | MUX_MODE7) /* (A5) gpmc_ad1.gpio1_1 PWR-GOOD */
			0x008 (PIN_INPUT_PULLUP | MUX_MODE7) /* (B6) gpmc_ad2.gpio1_2 BUCK-5V-PGOOD */
			0x01C (PIN_INPUT_PULLUP | MUX_MODE7) /* (B8) gpmc_ad7.gpio1_7 3V3-CH-OCn */
			0x088 (PIN_INPUT_PULLUP | MUX_MODE7) /* (B12) gpmc_csn3.gpio2_0 */
			0x10C (PIN_INPUT_PULLUP | MUX_MODE7) /* (B14) mii1_crs */
			0x110 (PIN_INPUT_PULLUP | MUX_MODE7) /* (B13) mii1_rx_er */
			0x124 (PIN_INPUT_PULLUP | MUX_MODE7) /* (A14) mii1_txd1 */
			0x130 (PIN_INPUT_PULLUP | MUX_MODE7) /* (D13) mii1_rx_clk */
			0x134 (PIN_INPUT_PULLUP | MUX_MODE7) /* (C14) mii1_rxd3 */
			0x140 (PIN_INPUT_PULLUP | MUX_MODE7) /* (F17) mii1_rxd0.gpio2_21 */
			0x144 (PIN_INPUT_PULLUP | MUX_MODE7) /* (A16) rmii1_ref_clk.gpio0_29 */
			0x158 (PIN_INPUT_PULLUP | MUX_MODE7) /* (T21) spi0_d1 PMIC-WAKEUPn */
			0x15C (PIN_INPUT_PULLUP | MUX_MODE7) /* (T20) spi0_cs0 PMIC-PFOn */
			0x1B8 (PIN_INPUT_PULLDOWN | MUX_MODE7) /* (AC18) cam0_field.gpio4_2 */
			0x1BC (PIN_INPUT_PULLDOWN | MUX_MODE7) /* (AD17) cam0_wen.gpio4_3 */
			0x1D0 (PIN_INPUT_PULLUP | MUX_MODE7) /* (AD24) cam1_data8 */
			0x1D4 (PIN_INPUT_PULLUP | MUX_MODE7) /* (AD25) cam1_hd */
			0x1D8 (PIN_INPUT_PULLUP | MUX_MODE7) /* (AC23) cam1_vd */
			0x1DC (PIN_INPUT_PULLUP | MUX_MODE7) /* (AE21) cam1_pclk */
			0x1E0 (PIN_INPUT_PULLDOWN | MUX_MODE7) /* (AC25) cam1_field.gpio4_12 */
			0x1E4 (PIN_INPUT_PULLDOWN | MUX_MODE7) /* (AB25) cam1_wen.gpio4_13 */
			0x1F0 (PIN_INPUT_PULLUP | MUX_MODE7) /* (AD21) cam1_data2 */
			0x1F4 (PIN_INPUT_PULLUP | MUX_MODE7) /* (AE22) cam1_data3 */
			0x1F8 (PIN_INPUT_PULLUP | MUX_MODE7) /* (AD22) cam1_data4 */
			0x1FC (PIN_INPUT_PULLUP | MUX_MODE7) /* (AE23) cam1_data5 */
			0x200 (PIN_INPUT_PULLUP | MUX_MODE7) /* (AD23) cam1_data6 */
			0x204 (PIN_INPUT_PULLUP | MUX_MODE7) /* (AE24) cam1_data7 */
			0x210 (PIN_INPUT_PULLDOWN | MUX_MODE7) /* (Y18) cam0_data2.gpio4_24 */
			0x214 (PIN_INPUT_PULLDOWN | MUX_MODE7) /* (AA18) cam0_data3.gpio4_25 */
			0x230 (PIN_INPUT_PULLUP | MUX_MODE7) /* (H22) uart3_ctsn */
			0x234 (PIN_INPUT_PULLUP | MUX_MODE7) /* (K24) uart3_rtsn */
			0x238 (PIN_INPUT_PULLUP | MUX_MODE7) /* (D25) gpio5_8.gpio5_8 3V3-AA-OCn */
			0x240 (PIN_INPUT_PULLUP | MUX_MODE7) /* (G20) gpio5_10.gpio5_10 12V-IF-OCn */
			0x244 (PIN_INPUT_PULLUP | MUX_MODE7) /* (F23) gpio5_11.gpio5_11 12V-TH-OCn */
			0x24C (PIN_INPUT_PULLUP | MUX_MODE7) /* (E24) gpio5_13.gpio5_13 3V3-BB-OCn */
			0x250 (PIN_INPUT_PULLDOWN | MUX_MODE7) /* (P25) spi4_sclk.gpio5_4 */
			0x254 (PIN_INPUT_PULLDOWN | MUX_MODE7) /* (R24) spi4_d0.gpio5_5 */
			0x258 (PIN_INPUT_PULLDOWN | MUX_MODE7) /* (P24) spi4_d1.gpio5_6 */
			0x25C (PIN_INPUT_PULLDOWN | MUX_MODE7) /* (N25) spi4_cs0.gpio5_7 */
			0x27C (PIN_INPUT)  /* (G22) WARMRSTn.nRESETIN_OUT RESETOUTn */
			0x2AC (PIN_INPUT_PULLDOWN | MUX_MODE0) /* (AE5) RTC_XTALIN.OSC1_IN */
			0x2B0 (PIN_OUTPUT_PULLDOWN | MUX_MODE0) /* (AE4) RTC_XTALOUT.OSC1_OUT */
			0x2BC (PIN_OUTPUT_PULLDOWN | MUX_MODE0) /* (AD6) RTC_PMIC_EN.RTC_PMIC_EN */
			0x278 (PIN_INPUT_PULLDOWN | WAKEUP_ENABLE | MUX_MODE7)	/* xdma_evt_intr1 */
			/* 0x00C PIN_INPUT (A6) gpmc_ad3 MUX-STAT revc-new - (pulled low if on standby power, pulled high for 36V power) */
			/* 0x17C (L22) uart1_rtsn RTC-INTn revc-new - (interrupt output from the RTC) */
			/* 0x220 (AE20) cam0_data6 AUX-PWM revc-new */
			/* 0x260 (N20) spi2_sclk MII-PWDN-INTn revc-new */
			/* 0x268 (P20) spi2_d1 CH-12C-INTn revc-new */
			/* 0x274 (C24) xdma_event_intr1 CLKOUT2 revc-new */
			/* 0x284 CTRL_CONF_NNMI (G25) EXTINTn PMIC-INTn revc-new */
			/* 0x2B4 CTRL_CONF_RTC_PORZ (AE6) RTC_PWRONRSTn -> tied to ground revc-new */
			/* 0x2B8 CTRL_CONF_EXT_WAKEUP0 (AE3) RTC_WAKEUP -> tied to ground revc-new */
		>;
	};

	usb1_pins_default: usb1_pins_default {
		pinctrl-single,pins = <
			0x2C0 (DS0_PULL_UP_DOWN_EN | PIN_INPUT_PULLDOWN | MUX_MODE7) /* (G21) USB0_DRVVBUS. */
		>;
	};

	usb1_pins_sleep: usb1_pins_sleep {
		pinctrl-single,pins = <
			0x2C0 (DS0_PULL_UP_DOWN_EN | PIN_INPUT_PULLDOWN | MUX_MODE7) /* (G21) USB0_DRVVBUS */
		>;
	};

	usb2_pins_default: usb2_pins_default {
		pinctrl-single,pins = <
			0x2C4 (DS0_PULL_UP_DOWN_EN | PIN_INPUT_PULLDOWN | MUX_MODE0) /* (F25) USB1_DRVVBUS */
		>;
	};

	usb2_pins_sleep: usb2_pins_sleep {
		pinctrl-single,pins = <
			0x2C4 (DS0_PULL_UP_DOWN_EN | PIN_INPUT_PULLDOWN | MUX_MODE7) /* (F25) USB1_DRVVBUS */
		>;
	};
};

&i2c0 {
	status = "okay";
	pinctrl-names = "default";
	pinctrl-0 = <&i2c0_pins>;
	clock-frequency = <100000>;

	rtc_sys: pcf8523 {
		compatible = "nxp,pcf8523";
		status = "okay";
		reg = <0x68>;
	};
};

&i2c1 {
	status = "okay";
	pinctrl-names = "default";
	pinctrl-0 = <&i2c1_pins>;
	clock-frequency = <100000>;
};

&i2c2 {
	status = "okay";
	pinctrl-names = "default";
	pinctrl-0 = <&i2c2_pins>;
	clock-frequency = <100000>;

	ioexp_top_0: ioexp@27 {
		status = "okay";
		compatible = "ti,tca9555";
		reg = <0x27>;
	};

	ft6x06@38 {
		status = "okay";
		compatible = "focaltech,ft6236";
		pinctrl-names = "default";
		pinctrl-0 = <&edt_ft5xx6_ts_pins>;
		reg = <0x38>;

		interrupt-parent = <&gpio3>;
		interrupts = <22 IRQ_TYPE_EDGE_FALLING>;

		/* Should just match the screen resolution */
		touchscreen-size-x = <800>;
		touchscreen-size-y = <480>;
	};

	tlc59108: tlc59116@40 {
		#address-cells = <1>;
		#size-cells = <0>;
		status = "okay";
		compatible = "ti,tlc59108";
		reg = <0x40>;
	};
};

&epwmss3 {
	status = "okay";
	ehrpwm3: pwm@48306200 {
		status = "okay";
		pinctrl-names = "default";
		pinctrl-0 = <&ehrpwm3_pins>;
	};
};

&gpio0 {
	status = "okay";
};

&gpio1 {
	status = "okay";
};

&gpio2 {
	status = "okay";
};

&gpio3 {
	status = "okay";
};

&gpio4 {
	status = "okay";
};

&gpio5 {
	status = "okay";
};

/* mmc channels are named 1/2/3 here instead of 0/1/2 :( */
&mmc2 {
	status = "okay";
	ti,non-removable;
	vmmc-supply = <&v3_3_sb>;
	bus-width = <8>;
	pinctrl-names = "default", "sleep";
	pinctrl-0 = <&emmc_pins_default>;
	pinctrl-1 = <&emmc_pins_sleep>;
};

&mmc3 {
	status = "okay";
	vmmc-supply = <&vmmcwl>;
	bus-width = <4>;
	pinctrl-names = "default", "sleep";
	pinctrl-0 = <&mmc3_pins_default &wlan_pins_default>;
	pinctrl-1 = <&mmc3_pins_sleep &wlan_pins_sleep>;
	ti,non-removable;  /* non-removable slot; assume always present */
	/* ti,needs-special-hs-handling; HSMMC IP needs special setting for handling High Speed */
	cap-power-off-card;  /* powering off the card is safe */
	keep-power-in-suspend;  /* preserve card power during a suspend/resume cycle */
	/* These DMAs are normally assigned within the dtsi file (am4372.dtsi), but are missing for mmc3) */
	dmas = <&edma_xbar 30 0 1>, <&edma_xbar 31 0 2>;
	dma-names = "tx", "rx";
	#address-cells = <1>;
	#size-cells = <0>;
	wlcore: wlcore@0 {
		compatible = "ti,wl1837";
		reg = <2>;
		interrupt-parent = <&gpio0>;
		interrupts = <11 IRQ_TYPE_EDGE_RISING>;
	};
};

&usb2_phy1 {
	status = "okay";
};

&usb1 {
	dr_mode = "otg";
	status = "okay";
	pinctrl-names = "default", "sleep";
	pinctrl-0 = <&usb1_pins_default>;
	pinctrl-1 = <&usb1_pins_sleep>;
};

&usb2_phy2 {
	status = "okay";
};

&usb2 {
	dr_mode = "host";
	status = "okay";
	pinctrl-names = "default", "sleep";
	pinctrl-0 = <&usb2_pins_default>;
	pinctrl-1 = <&usb2_pins_sleep>;
};

&mac {
	pinctrl-names = "default", "sleep";
	pinctrl-0 = <&cpsw_default>;
	pinctrl-1 = <&cpsw_sleep>;
	active_slave = <1>;
	status = "okay";
};

&davinci_mdio {
	pinctrl-names = "default", "sleep";
	pinctrl-0 = <&davinci_mdio_default>;
	pinctrl-1 = <&davinci_mdio_sleep>;
	status = "okay";
};

/* we're not using this but let's avoid boot time complaints */
&cpsw_emac0 {
	phy_id = <&davinci_mdio>, <0>;
	phy-mode = "mii";
};

&cpsw_emac1 {
	phy_id = <&davinci_mdio>, <1>;
	phy-mode = "mii";
};

&uart0 {
	status = "okay";
	pinctrl-names = "default", "sleep";
	pinctrl-0 = <&uart0_pins_default>;
	pinctrl-1 = <&uart0_pins_sleep>;
};

&uart1 {
	status = "okay";
	pinctrl-names = "default", "sleep";
	pinctrl-0 = <&uart1_pins_default>;
	pinctrl-1 = <&uart1_pins_sleep>;
};

&uart2 {
	status = "okay";
	pinctrl-names = "default", "sleep";
	pinctrl-0 = <&uart2_pins_default>;
	pinctrl-1 = <&uart2_pins_sleep>;
};

&uart3 {
	status = "okay";
	pinctrl-names = "default", "sleep";
	pinctrl-0 = <&uart3_pins_default>;
	pinctrl-1 = <&uart3_pins_sleep>;
};

&wkup_m3_ipc {
	ti,set-io-isolation;
	ti,scale-data-fw = "am43x-evm-scale-data.bin";
};

/* &rtc { */
/*   status = "okay"; */
/*   ext-clk-src; */
/* }; */

&pruss0 {
	pinctrl-names = "default";
	pinctrl-0 = <&pruss_pins>;
};

&dss {
	status = "okay";
	pinctrl-names = "default", "sleep";
	pinctrl-0 = <&dss_pins_default>;
	pinctrl-1 = <&dss_pins_sleep>;

	port {
		dpi_out: endpoint@0 {
			remote-endpoint = <&lcd_in>;
			data-lines = <16>;
		};
	};
};

&sgx {
	status = "okay";
	compatible = "ti,am4376-sgx530", "ti,sgx";
};

&tscadc {
	status = "okay";
	adc {
		ti,adc-channels = <0 1 2 3 4 5 6 7>;
	};
};

&magadc {
	status = "okay";
  mag {
    ti,tracks = <0>;
  };
	adc {
		ti,adc-channels = <0  2  4  6 >;
	};
};

/* TODO: This clearly belongs in dss and not in the root node.
 *     But the dss is poorly written so this cannot go there.
 */
/ {
	lcd0: display@0 {
		compatible = "omapdss,panel-dpi", "panel-dpi";
		label = "lcd";
		status = "okay";
		/* This is the backlight, not really an enable... */
		enable-gpios = <&gpio4 29 GPIO_ACTIVE_HIGH>;

		port {
			lcd_in: endpoint {
				remote-endpoint = <&dpi_out>;
			};
		};

		/* Mostly from the panel-dpi example */
		panel-timing {
			clock-frequency = <33000000>;
			hactive = <800>;
			vactive = <480>;
			hfront-porch = <40>;
			hback-porch = <40>;
			hsync-len = <48>;
			vback-porch = <29>;
			vfront-porch = <13>;
			vsync-len = <3>;

			hsync-active = <0>;
			vsync-active = <0>;
			de-active = <1>;
			pixelclk-active = <0>;
		};
	};
};
